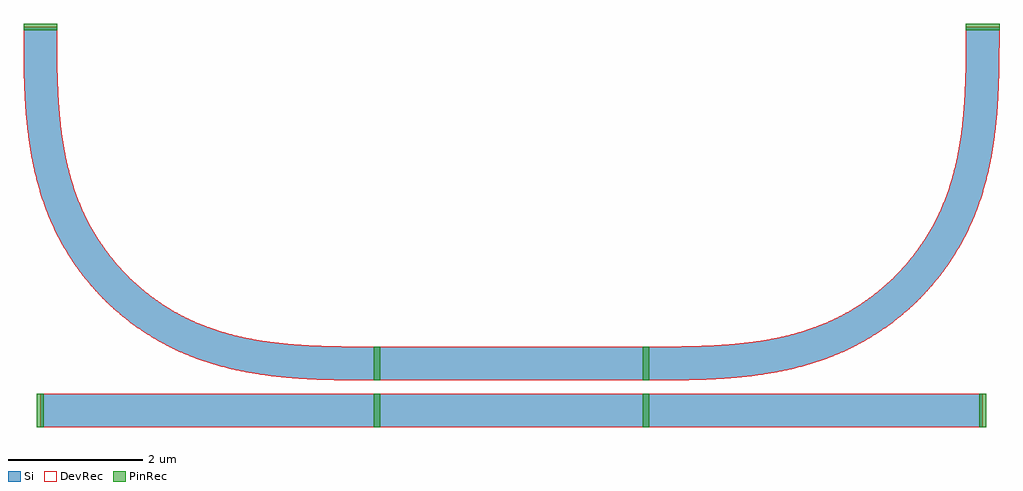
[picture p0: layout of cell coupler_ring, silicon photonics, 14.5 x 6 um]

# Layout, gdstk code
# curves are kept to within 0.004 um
from math import pi, radians
import gdstk
lib = gdstk.Library(unit=1e-6, precision=1e-09)
def R(c, l, rs):  # rectangles x0, y0, x1, y1
    for r in rs: c.add(gdstk.rectangle(r[:2], r[2:], *l))
def P(c, l, *ps):  # polygons
    for p in ps: c.add(gdstk.Polygon(p, *l))
Si = (1, 0)
PinRec = (1, 10)
DevRec = (68, 0)

bend_euler_radius5p0 = lib.new_cell('bend_euler_radius5p0')
P(bend_euler_radius5p0, Si, [(0.023,-0.25),(0.587,-0.247),(1.086,-0.229),(1.494,-0.195),(1.926,-0.132),(2.286,-0.052),(2.57,0.032),(2.826,0.128),(2.987,0.199),(3.131,0.271),(1.057,0.271),(0.578,0.253),(0,0.25),(0,-0.25)],
  [(3.145,0.278),(3.406,0.429),(3.593,0.556),(3.714,0.647),(3.888,0.792),(4.017,0.912),(4.241,1.15),(3.538,1.15),(3.318,0.974),(3.045,0.794),(2.755,0.642),(2.452,0.52),(2.307,0.473),(2.095,0.415),(1.77,0.348),(1.439,0.302),(1.057,0.271),(3.131,0.271)],
  [(4.257,1.169),(4.429,1.386),(4.571,1.594),(4.662,1.745),(4.801,2.013),(4.891,2.22),(4.976,2.454),(5.046,2.691),(5.108,2.954),(4.596,2.954),(4.527,2.693),(4.45,2.466),(4.358,2.245),(4.206,1.955),(4.064,1.735),(3.891,1.51),(3.73,1.332),(3.538,1.15),(4.241,1.15)],
  [(5.113,2.978),(5.171,3.314),(5.205,3.602),(5.226,3.866),(5.245,4.318),(5.25,5),(4.75,5),(4.744,4.284),(4.719,3.785),(4.698,3.561),(4.666,3.318),(4.596,2.954),(5.108,2.954)])
P(bend_euler_radius5p0, DevRec, [(0.023,-0.25),(0.587,-0.247),(1.086,-0.229),(1.494,-0.195),(1.926,-0.132),(2.286,-0.052),(2.57,0.032),(2.826,0.128),(2.987,0.199),(3.131,0.271),(1.057,0.271),(0.578,0.253),(0,0.25),(0,-0.25)],
  [(3.145,0.278),(3.406,0.429),(3.593,0.556),(3.714,0.647),(3.888,0.792),(4.017,0.912),(4.241,1.15),(3.538,1.15),(3.318,0.974),(3.045,0.794),(2.755,0.642),(2.452,0.52),(2.307,0.473),(2.095,0.415),(1.77,0.348),(1.439,0.302),(1.057,0.271),(3.131,0.271)],
  [(4.257,1.169),(4.429,1.386),(4.571,1.594),(4.662,1.745),(4.801,2.013),(4.891,2.22),(4.976,2.454),(5.046,2.691),(5.108,2.954),(4.596,2.954),(4.527,2.693),(4.45,2.466),(4.358,2.245),(4.206,1.955),(4.064,1.735),(3.891,1.51),(3.73,1.332),(3.538,1.15),(4.241,1.15)],
  [(5.113,2.978),(5.171,3.314),(5.205,3.602),(5.226,3.866),(5.245,4.318),(5.25,5),(4.75,5),(4.744,4.284),(4.719,3.785),(4.698,3.561),(4.666,3.318),(4.596,2.954),(5.108,2.954)])
bend_euler_radius5p0.add(gdstk.FlexPath([(0.05,0),(-0.05,0)], 0.5, ends="flush", simple_path=True, layer=1, datatype=10))  # PinRec
bend_euler_radius5p0.add(gdstk.FlexPath([(5,4.95),(5,5.05)], 0.5, ends="flush", simple_path=True, layer=1, datatype=10))  # PinRec
bend_euler_radius5p0.add(gdstk.Label('o1', (0,0), layer=1, texttype=10))
bend_euler_radius5p0.add(gdstk.Label('o2', (5,5), layer=1, texttype=10))

straight_length5p0 = lib.new_cell('straight_length5p0')
R(straight_length5p0, Si, [(0,-0.25,5,0.25)])
R(straight_length5p0, DevRec, [(0,-0.25,5,0.25)])
straight_length5p0.add(gdstk.FlexPath([(0.05,0),(-0.05,0)], 0.5, ends="flush", simple_path=True, layer=1, datatype=10))  # PinRec
straight_length5p0.add(gdstk.FlexPath([(4.95,0),(5.05,0)], 0.5, ends="flush", simple_path=True, layer=1, datatype=10))  # PinRec
straight_length5p0.add(gdstk.Label('o1', (0,0), layer=1, texttype=10))
straight_length5p0.add(gdstk.Label('o2', (5,0), layer=1, texttype=10))

coupler90_radius5p0 = lib.new_cell('coupler90_radius5p0')
coupler90_radius5p0.add(gdstk.Reference(bend_euler_radius5p0, (0,0.7)))
coupler90_radius5p0.add(gdstk.Reference(straight_length5p0, (0,0)))

straight_length4p0 = lib.new_cell('straight_length4p0')
R(straight_length4p0, Si, [(0,-0.25,4,0.25)])
R(straight_length4p0, DevRec, [(0,-0.25,4,0.25)])
straight_length4p0.add(gdstk.FlexPath([(0.05,0),(-0.05,0)], 0.5, ends="flush", simple_path=True, layer=1, datatype=10))  # PinRec
straight_length4p0.add(gdstk.FlexPath([(3.95,0),(4.05,0)], 0.5, ends="flush", simple_path=True, layer=1, datatype=10))  # PinRec
straight_length4p0.add(gdstk.Label('o1', (0,0), layer=1, texttype=10))
straight_length4p0.add(gdstk.Label('o2', (4,0), layer=1, texttype=10))

coupler_straight_769ef0d = lib.new_cell('coupler_straight_769ef0d8')
coupler_straight_769ef0d.add(gdstk.Reference(straight_length4p0, (0,0.7)))
coupler_straight_769ef0d.add(gdstk.Reference(straight_length4p0, (0,0)))

coupler_ring = lib.new_cell('coupler_ring')
coupler_ring.add(gdstk.Reference(coupler90_radius5p0, (-4,0), rotation=pi, x_reflection=True))
coupler_ring.add(gdstk.Reference(coupler90_radius5p0, (0,0)))
coupler_ring.add(gdstk.Reference(coupler_straight_769ef0d, (-4,0)))

lib.write_gds('coupler_ring.gds')
